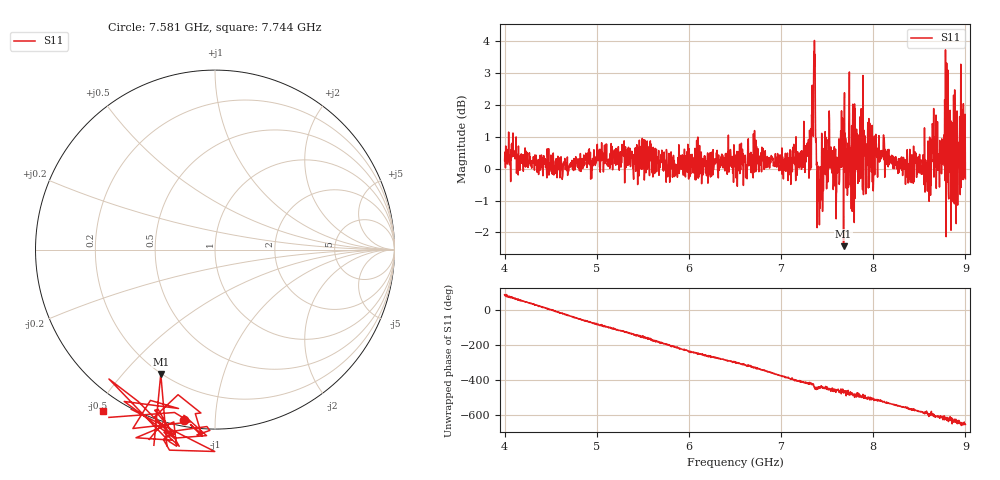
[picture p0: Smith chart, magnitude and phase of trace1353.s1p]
! Created with skrf 1.8.0 (http://scikit-rf.org).
# Hz S RI R 50.0
!freq ReS11 ImS11
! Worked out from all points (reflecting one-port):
!   1601 points, 4 GHz to 9 GHz, reference 50 ohm
!   lowest |S11| = -2.4 dB at 7.678 GHz (marker M1), VSWR 7.18, Z = 9.86 - j31.8 ohm
!   phase of S11 starts at 88 deg and turns -741 deg over the sweep
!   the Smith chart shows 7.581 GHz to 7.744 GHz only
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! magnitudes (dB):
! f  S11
! 4 GHz  0.3
! 4.625 GHz  -0.3
! 5.25 GHz  0.4
! 5.875 GHz  -0.3
! 6.5 GHz  0.4
! 7.125 GHz  0.3
! 7.294 GHz  0.6
! 7.325 GHz  1.1
! 7.344 GHz  2.3
! 7.356 GHz  3.7
! 7.381 GHz  0.9
! 7.4 GHz  -0.4
! 7.412 GHz  -0.8
! 7.5 GHz  0.3
! 7.609 GHz  -0.1
! 7.678 GHz  -2.4
! 7.703 GHz  0.8
! 7.75 GHz  0.0
! 7.775 GHz  0.9
! 7.891 GHz  0.9
! 8.375 GHz  -0.2
! 8.584 GHz  -0.3
! 8.656 GHz  1.9
! 8.728 GHz  0.2
! 8.784 GHz  3.7
! 8.844 GHz  -1.9
! 8.972 GHz  0.5
! 9 GHz  -0.3
